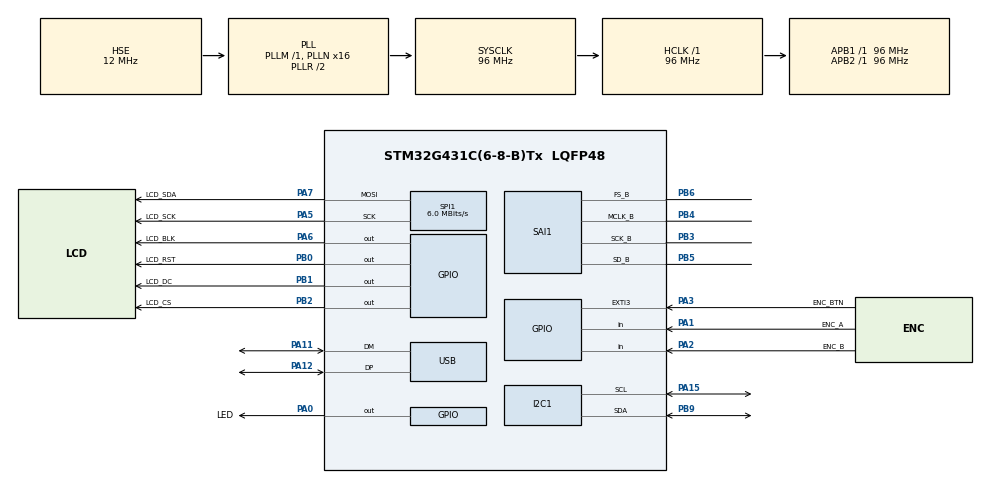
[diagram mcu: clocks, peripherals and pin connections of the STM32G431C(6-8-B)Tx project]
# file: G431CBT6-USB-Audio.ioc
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Dma.Request0=SPI1_TX
Dma.Request1=SAI1_B
Dma.SAI1_B.1.Direction=DMA_PERIPH_TO_MEMORY
Dma.SAI1_B.1.EventEnable=DISABLE
Dma.SAI1_B.1.Instance=DMA1_Channel2
Dma.SAI1_B.1.MemDataAlignment=DMA_MDATAALIGN_WORD
Dma.SAI1_B.1.MemInc=DMA_MINC_ENABLE
Dma.SAI1_B.1.Mode=DMA_NORMAL
Dma.SAI1_B.1.PeriphDataAlignment=DMA_PDATAALIGN_WORD
Dma.SAI1_B.1.PeriphInc=DMA_PINC_DISABLE
Dma.SAI1_B.1.Polarity=HAL_DMAMUX_REQ_GEN_RISING
Dma.SAI1_B.1.Priority=DMA_PRIORITY_LOW
Dma.SAI1_B.1.RequestNumber=1
Dma.SAI1_B.1.SignalID=NONE
Dma.SAI1_B.1.SyncEnable=DISABLE
Dma.SAI1_B.1.SyncPolarity=HAL_DMAMUX_SYNC_NO_EVENT
Dma.SAI1_B.1.SyncRequestNumber=1
Dma.SAI1_B.1.SyncSignalID=NONE
Dma.SPI1_TX.0.Direction=DMA_MEMORY_TO_PERIPH
Dma.SPI1_TX.0.EventEnable=DISABLE
Dma.SPI1_TX.0.Instance=DMA1_Channel1
Dma.SPI1_TX.0.MemDataAlignment=DMA_MDATAALIGN_BYTE
Dma.SPI1_TX.0.MemInc=DMA_MINC_ENABLE
Dma.SPI1_TX.0.Mode=DMA_NORMAL
Dma.SPI1_TX.0.PeriphDataAlignment=DMA_PDATAALIGN_BYTE
Dma.SPI1_TX.0.PeriphInc=DMA_PINC_DISABLE
Dma.SPI1_TX.0.Polarity=HAL_DMAMUX_REQ_GEN_RISING
Dma.SPI1_TX.0.Priority=DMA_PRIORITY_MEDIUM
Dma.SPI1_TX.0.RequestNumber=1
Dma.SPI1_TX.0.SignalID=NONE
Dma.SPI1_TX.0.SyncEnable=DISABLE
Dma.SPI1_TX.0.SyncPolarity=HAL_DMAMUX_SYNC_NO_EVENT
Dma.SPI1_TX.0.SyncRequestNumber=1
Dma.SPI1_TX.0.SyncSignalID=NONE
I2C1.Timing=0x10B0DCFB
Mcu.Family=STM32G4
Mcu.Name=STM32G431C(6-8-B)Tx
Mcu.Package=LQFP48
NVIC.DMA1_Channel1_IRQn=true\:0\:0\:false\:false\:true\:false\:true\:true
NVIC.DMA1_Channel2_IRQn=true\:0\:0\:false\:false\:true\:false\:true\:true
NVIC.EXTI3_IRQn=true\:0\:0\:false\:false\:true\:true\:true\:true
NVIC.PriorityGroup=NVIC_PRIORITYGROUP_4
NVIC.USB_LP_IRQn=true\:0\:0\:false\:false\:true\:false\:true\:true
PA0.GPIO_Label=LED
PA0.Signal=GPIO_Output
PA1.GPIO_Label=ENC_A
PA1.Signal=GPIO_Input
PA11.Mode=Device
PA11.Signal=USB_DM
PA12.Mode=Device
PA12.Signal=USB_DP
PA13.Mode=Serial_Wire
PA13.Signal=SYS_JTMS-SWDIO
PA14.Mode=Serial_Wire
PA14.Signal=SYS_JTCK-SWCLK
PA15.Mode=I2C
PA15.Signal=I2C1_SCL
PA2.GPIO_Label=ENC_B
PA2.Signal=GPIO_Input
PA3.GPIO_Label=ENC_BTN
PA3.GPIO_ModeDefaultEXTI=GPIO_MODE_IT_FALLING
PA3.GPIO_PuPd=GPIO_PULLUP
PA3.Signal=GPXTI3
PA5.GPIO_Label=LCD_SCK
PA5.Mode=TX_Only_Simplex_Unidirect_Master
PA5.Signal=SPI1_SCK
PA6.GPIO_Label=LCD_BLK
PA6.Signal=GPIO_Output
PA7.GPIO_Label=LCD_SDA
PA7.Mode=TX_Only_Simplex_Unidirect_Master
PA7.Signal=SPI1_MOSI
PB0.GPIO_Label=LCD_RST
PB0.Signal=GPIO_Output
PB1.GPIO_Label=LCD_DC
PB1.Signal=GPIO_Output
PB2.GPIO_Label=LCD_CS
PB2.Signal=GPIO_Output
PB3.Mode=SAI_B_MasterWithClock
PB3.Signal=SAI1_SCK_B
PB4.Mode=SAI_B_MasterWithClock
PB4.Signal=SAI1_MCLK_B
PB5.Mode=SAI_B_MasterWithClock
PB5.Signal=SAI1_SD_B
PB6.Mode=SAI_B_MasterWithClock
PB6.Signal=SAI1_FS_B
PB9.Mode=I2C
PB9.Signal=I2C1_SDA
PC14-OSC32_IN.Mode=LSE-External-Oscillator
PC14-OSC32_IN.Signal=RCC_OSC32_IN
PC15-OSC32_OUT.Mode=LSE-External-Oscillator
PC15-OSC32_OUT.Signal=RCC_OSC32_OUT
PF0-OSC_IN.Mode=HSE-External-Oscillator
PF0-OSC_IN.Signal=RCC_OSC_IN
PF1-OSC_OUT.Mode=HSE-External-Oscillator
PF1-OSC_OUT.Signal=RCC_OSC_OUT
ProjectManager.HeapSize=0x2800
ProjectManager.StackSize=0x400
ProjectManager.TargetToolchain=STM32CubeIDE
RCC.ADC12Freq_Value=96000000
RCC.AHBFreq_Value=96000000
RCC.APB1Freq_Value=96000000
RCC.APB1TimFreq_Value=96000000
RCC.APB2Freq_Value=96000000
RCC.APB2TimFreq_Value=96000000
RCC.CK48CLockSelection=RCC_USBCLKSOURCE_HSI48
RCC.CortexFreq_Value=96000000
RCC.EXTERNAL_CLOCK_VALUE=12288000
RCC.EnbaleCSS=true
RCC.HCLKFreq_Value=96000000
RCC.HSE_VALUE=12000000
RCC.HSI48_VALUE=48000000
RCC.HSI_VALUE=16000000
RCC.PLLN=16
RCC.PLLQ=RCC_PLLQ_DIV4
RCC.PLLSourceVirtual=RCC_PLLSOURCE_HSE
RCC.SYSCLKFreq_VALUE=96000000
RCC.SYSCLKSource=RCC_SYSCLKSOURCE_PLLCLK
RCC.USBFreq_Value=48000000
RCC.VCOOutputFreq_Value=192000000
SAI1.AudioFrequency-SAI_B_MasterWithClock=SAI_AUDIO_FREQUENCY_48K
SAI1.AudioMode-SAI_B_MasterWithClock=SAI_MODEMASTER_RX
SAI1.InitProtocol-SAI_B_MasterWithClock=Enable
SAI1.Instance-SAI_B_MasterWithClock=SAI$Index_Block_B
SAI1.MckOutput-SAI_B_MasterWithClock=SAI_MCK_OUTPUT_ENABLE
SAI1.VirtualMode-SAI_B_MasterWithClock=VM_MASTER
SAI1.VirtualProtocol-SAI_B_BASIC=VM_BASIC_PROTOCOL
SPI1.BaudRatePrescaler=SPI_BAUDRATEPRESCALER_16
SPI1.CalculateBaudRate=6.0 MBits/s
SPI1.Direction=SPI_DIRECTION_2LINES
SPI1.Mode=SPI_MODE_MASTER
SPI1.VirtualType=VM_MASTER
USB_DEVICE.CLASS_NAME_FS=AUDIO
USB_DEVICE.USBD_AUDIO_FREQ=48000
USB_DEVICE.VirtualMode=Audio
USB_DEVICE.VirtualModeFS=Audio_FS
VP_RCC_VS_USB.Mode=USB_FS
VP_SAI1_VP_$IpInstance_SAIB_SAI_BASIC.Mode=SAI_B_BASIC
VP_SYS_VS_DBSignals.Mode=DisableDeadBatterySignals
VP_USB_DEVICE_VS_USB_DEVICE_AUDIO_FS.Mode=AUDIO_FS
board=custom

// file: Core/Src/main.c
/* USER CODE BEGIN Header */
/**
  ******************************************************************************
  * @file           : main.c
  * @brief          : Main program body
  ******************************************************************************
  * @attention
  *
  * Copyright (c) 2022 STMicroelectronics.
  * All rights reserved.
  *
  * This software is licensed under terms that can be found in the LICENSE file
  * in the root directory of this software component.
  * If no LICENSE file comes with this software, it is provided AS-IS.
  *
  ******************************************************************************
  */
/* USER CODE END Header */
#include "main.h"
#include "usb_device.h"

/* USER CODE BEGIN Includes */
#include "st7789.h"
/* USER CODE END Includes */

/* USER CODE BEGIN PD */
int btn_pressed = 0;
/* USER CODE END PD */

 I2C_HandleTypeDef hi2c1;

SAI_HandleTypeDef hsai_BlockB1;
DMA_HandleTypeDef hdma_sai1_b;

SPI_HandleTypeDef hspi1;
DMA_HandleTypeDef hdma_spi1_tx;

void SystemClock_Config(void);
static void MX_GPIO_Init(void);
static void MX_DMA_Init(void);
static void MX_SAI1_Init(void);
static void MX_I2C1_Init(void);
static void MX_SPI1_Init(void);
/* USER CODE BEGIN PFP */
void Button_Press(void);
/* USER CODE END PFP */

/* USER CODE BEGIN 0 */
void Button_Press(void) {
	HAL_GPIO_EXTI_Callback(ENC_BTN_Pin);

}

void ADC_to_MIC(void)
{
   // HAL_ADC_Start_DMA(&hadc1, (uint32_t*)adc_buffer, OSA_BUF_SIZE * (AUDIO_IN_PACKET / 2)); // Start ADC transfer into oversampling buffer
}

/* USER CODE END 0 */

int main(void)
{

  /* MCU Configuration--------------------------------------------------------*/

  /* Reset of all peripherals, Initializes the Flash interface and the Systick. */
  HAL_Init();

  /* Configure the system clock */
  SystemClock_Config();

  /* Initialize all configured peripherals */
  MX_GPIO_Init();
  MX_DMA_Init();
  MX_SAI1_Init();
  MX_I2C1_Init();
  MX_USB_Device_Init();
  MX_SPI1_Init();
  /* USER CODE BEGIN 2 */
  ST7789_Init();
  HAL_GPIO_WritePin(LCD_BLK_GPIO_Port, LCD_BLK_Pin, 1);

  UG_FillScreen(C_BLACK);
  ST7789_PutStr(10, 20, "USB Audio Interface", FONT_arial_20X23, C_WHITE, C_BLACK);
  /* USER CODE END 2 */

  /* Infinite loop */
  while (1)
  {

    /* USER CODE BEGIN 3 */
	  if (btn_pressed == 1){
		  ST7789_PutStr(10, 50, "Button TRIGGERED", FONT_arial_20X23, C_WHITE, C_BLACK);
		  btn_pressed = 0;
	  } else {
		  ST7789_PutStr(10, 50, "Button no activity", FONT_arial_20X23, C_WHITE, C_BLACK);
	  }
  }
  /* USER CODE END 3 */
}

void SystemClock_Config(void)
{
  RCC_OscInitTypeDef RCC_OscInitStruct = {0};
  RCC_ClkInitTypeDef RCC_ClkInitStruct = {0};
  RCC_CRSInitTypeDef pInit = {0};

  /** Configure the main internal regulator output voltage
  */
  HAL_PWREx_ControlVoltageScaling(PWR_REGULATOR_VOLTAGE_SCALE1);

  /** Initializes the RCC Oscillators according to the specified parameters
  * in the RCC_OscInitTypeDef structure.
  */
  RCC_OscInitStruct.OscillatorType = RCC_OSCILLATORTYPE_HSI48|RCC_OSCILLATORTYPE_HSE;
  RCC_OscInitStruct.HSEState = RCC_HSE_ON;
  RCC_OscInitStruct.HSI48State = RCC_HSI48_ON;
  RCC_OscInitStruct.PLL.PLLState = RCC_PLL_ON;
  RCC_OscInitStruct.PLL.PLLSource = RCC_PLLSOURCE_HSE;
  RCC_OscInitStruct.PLL.PLLM = RCC_PLLM_DIV1;
  RCC_OscInitStruct.PLL.PLLN = 16;
  RCC_OscInitStruct.PLL.PLLP = RCC_PLLP_DIV2;
  RCC_OscInitStruct.PLL.PLLQ = RCC_PLLQ_DIV4;
  RCC_OscInitStruct.PLL.PLLR = RCC_PLLR_DIV2;
  if (HAL_RCC_OscConfig(&RCC_OscInitStruct) != HAL_OK)
  {
    Error_Handler();
  }

  /** Initializes the CPU, AHB and APB buses clocks
  */
  RCC_ClkInitStruct.ClockType = RCC_CLOCKTYPE_HCLK|RCC_CLOCKTYPE_SYSCLK
                              |RCC_CLOCKTYPE_PCLK1|RCC_CLOCKTYPE_PCLK2;
  RCC_ClkInitStruct.SYSCLKSource = RCC_SYSCLKSOURCE_PLLCLK;
  RCC_ClkInitStruct.AHBCLKDivider = RCC_SYSCLK_DIV1;
  RCC_ClkInitStruct.APB1CLKDivider = RCC_HCLK_DIV1;
  RCC_ClkInitStruct.APB2CLKDivider = RCC_HCLK_DIV1;

  if (HAL_RCC_ClockConfig(&RCC_ClkInitStruct, FLASH_LATENCY_2) != HAL_OK)
  {
    Error_Handler();
  }

  /** Enables the Clock Security System
  */
  HAL_RCC_EnableCSS();

  /** Enable the SYSCFG APB clock
  */
  __HAL_RCC_CRS_CLK_ENABLE();

  /** Configures CRS
  */
  pInit.Prescaler = RCC_CRS_SYNC_DIV1;
  pInit.Source = RCC_CRS_SYNC_SOURCE_USB;
  pInit.Polarity = RCC_CRS_SYNC_POLARITY_RISING;
  pInit.ReloadValue = __HAL_RCC_CRS_RELOADVALUE_CALCULATE(48000000,1000);
  pInit.ErrorLimitValue = 34;
  pInit.HSI48CalibrationValue = 32;

  HAL_RCCEx_CRSConfig(&pInit);
}

static void MX_I2C1_Init(void)
{

  hi2c1.Instance = I2C1;
  hi2c1.Init.Timing = 0x10B0DCFB;
  hi2c1.Init.OwnAddress1 = 0;
  hi2c1.Init.AddressingMode = I2C_ADDRESSINGMODE_7BIT;
  hi2c1.Init.DualAddressMode = I2C_DUALADDRESS_DISABLE;
  hi2c1.Init.OwnAddress2 = 0;
  hi2c1.Init.OwnAddress2Masks = I2C_OA2_NOMASK;
  hi2c1.Init.GeneralCallMode = I2C_GENERALCALL_DISABLE;
  hi2c1.Init.NoStretchMode = I2C_NOSTRETCH_DISABLE;
  if (HAL_I2C_Init(&hi2c1) != HAL_OK)
  {
    Error_Handler();
  }

  /** Configure Analogue filter
  */
  if (HAL_I2CEx_ConfigAnalogFilter(&hi2c1, I2C_ANALOGFILTER_ENABLE) != HAL_OK)
  {
    Error_Handler();
  }

  /** Configure Digital filter
  */
  if (HAL_I2CEx_ConfigDigitalFilter(&hi2c1, 0) != HAL_OK)
  {
    Error_Handler();
  }

}

static void MX_SAI1_Init(void)
{

  hsai_BlockB1.Instance = SAI1_Block_B;
  hsai_BlockB1.Init.AudioMode = SAI_MODEMASTER_RX;
  hsai_BlockB1.Init.Synchro = SAI_ASYNCHRONOUS;
  hsai_BlockB1.Init.OutputDrive = SAI_OUTPUTDRIVE_DISABLE;
  hsai_BlockB1.Init.NoDivider = SAI_MASTERDIVIDER_ENABLE;
  hsai_BlockB1.Init.MckOverSampling = SAI_MCK_OVERSAMPLING_DISABLE;
  hsai_BlockB1.Init.FIFOThreshold = SAI_FIFOTHRESHOLD_EMPTY;
  hsai_BlockB1.Init.AudioFrequency = SAI_AUDIO_FREQUENCY_48K;
  hsai_BlockB1.Init.SynchroExt = SAI_SYNCEXT_DISABLE;
  hsai_BlockB1.Init.MonoStereoMode = SAI_STEREOMODE;
  hsai_BlockB1.Init.CompandingMode = SAI_NOCOMPANDING;
  if (HAL_SAI_InitProtocol(&hsai_BlockB1, SAI_I2S_STANDARD, SAI_PROTOCOL_DATASIZE_16BIT, 2) != HAL_OK)
  {
    Error_Handler();
  }

}

static void MX_SPI1_Init(void)
{

  /* SPI1 parameter configuration*/
  hspi1.Instance = SPI1;
  hspi1.Init.Mode = SPI_MODE_MASTER;
  hspi1.Init.Direction = SPI_DIRECTION_2LINES;
  hspi1.Init.DataSize = SPI_DATASIZE_4BIT;
  hspi1.Init.CLKPolarity = SPI_POLARITY_LOW;
  hspi1.Init.CLKPhase = SPI_PHASE_1EDGE;
  hspi1.Init.NSS = SPI_NSS_SOFT;
  hspi1.Init.BaudRatePrescaler = SPI_BAUDRATEPRESCALER_16;
  hspi1.Init.FirstBit = SPI_FIRSTBIT_MSB;
  hspi1.Init.TIMode = SPI_TIMODE_DISABLE;
  hspi1.Init.CRCCalculation = SPI_CRCCALCULATION_DISABLE;
  hspi1.Init.CRCPolynomial = 7;
  hspi1.Init.CRCLength = SPI_CRC_LENGTH_DATASIZE;
  hspi1.Init.NSSPMode = SPI_NSS_PULSE_ENABLE;
  if (HAL_SPI_Init(&hspi1) != HAL_OK)
  {
    Error_Handler();
  }

}

static void MX_DMA_Init(void)
{

  /* DMA controller clock enable */
  __HAL_RCC_DMAMUX1_CLK_ENABLE();
  __HAL_RCC_DMA1_CLK_ENABLE();

  /* DMA interrupt init */
  /* DMA1_Channel1_IRQn interrupt configuration */
  HAL_NVIC_SetPriority(DMA1_Channel1_IRQn, 0, 0);
  HAL_NVIC_EnableIRQ(DMA1_Channel1_IRQn);
  /* DMA1_Channel2_IRQn interrupt configuration */
  HAL_NVIC_SetPriority(DMA1_Channel2_IRQn, 0, 0);
  HAL_NVIC_EnableIRQ(DMA1_Channel2_IRQn);

}

static void MX_GPIO_Init(void)
{
  GPIO_InitTypeDef GPIO_InitStruct = {0};

  /* GPIO Ports Clock Enable */
  __HAL_RCC_GPIOC_CLK_ENABLE();
  __HAL_RCC_GPIOF_CLK_ENABLE();
  __HAL_RCC_GPIOA_CLK_ENABLE();
  __HAL_RCC_GPIOB_CLK_ENABLE();

  /*Configure GPIO pin Output Level */
  HAL_GPIO_WritePin(GPIOA, LED_Pin|LCD_BLK_Pin, GPIO_PIN_RESET);

  /*Configure GPIO pin Output Level */
  HAL_GPIO_WritePin(GPIOB, LCD_RST_Pin|LCD_DC_Pin|LCD_CS_Pin, GPIO_PIN_RESET);

  /*Configure GPIO pins : LED_Pin LCD_BLK_Pin */
  GPIO_InitStruct.Pin = LED_Pin|LCD_BLK_Pin;
  GPIO_InitStruct.Mode = GPIO_MODE_OUTPUT_PP;
  GPIO_InitStruct.Pull = GPIO_NOPULL;
  GPIO_InitStruct.Speed = GPIO_SPEED_FREQ_LOW;
  HAL_GPIO_Init(GPIOA, &GPIO_InitStruct);

  /*Configure GPIO pins : ENC_A_Pin ENC_B_Pin */
  GPIO_InitStruct.Pin = ENC_A_Pin|ENC_B_Pin;
  GPIO_InitStruct.Mode = GPIO_MODE_INPUT;
  GPIO_InitStruct.Pull = GPIO_NOPULL;
  HAL_GPIO_Init(GPIOA, &GPIO_InitStruct);

  /*Configure GPIO pin : ENC_BTN_Pin */
  GPIO_InitStruct.Pin = ENC_BTN_Pin;
  GPIO_InitStruct.Mode = GPIO_MODE_IT_FALLING;
  GPIO_InitStruct.Pull = GPIO_PULLUP;
  HAL_GPIO_Init(ENC_BTN_GPIO_Port, &GPIO_InitStruct);

  /*Configure GPIO pins : LCD_RST_Pin LCD_DC_Pin LCD_CS_Pin */
  GPIO_InitStruct.Pin = LCD_RST_Pin|LCD_DC_Pin|LCD_CS_Pin;
  GPIO_InitStruct.Mode = GPIO_MODE_OUTPUT_PP;
  GPIO_InitStruct.Pull = GPIO_NOPULL;
  GPIO_InitStruct.Speed = GPIO_SPEED_FREQ_LOW;
  HAL_GPIO_Init(GPIOB, &GPIO_InitStruct);

  /* EXTI interrupt init*/
  HAL_NVIC_SetPriority(EXTI3_IRQn, 0, 0);
  HAL_NVIC_EnableIRQ(EXTI3_IRQn);

}

void Error_Handler(void)
{
  __disable_irq();
  while (1)
  {
  }
}
